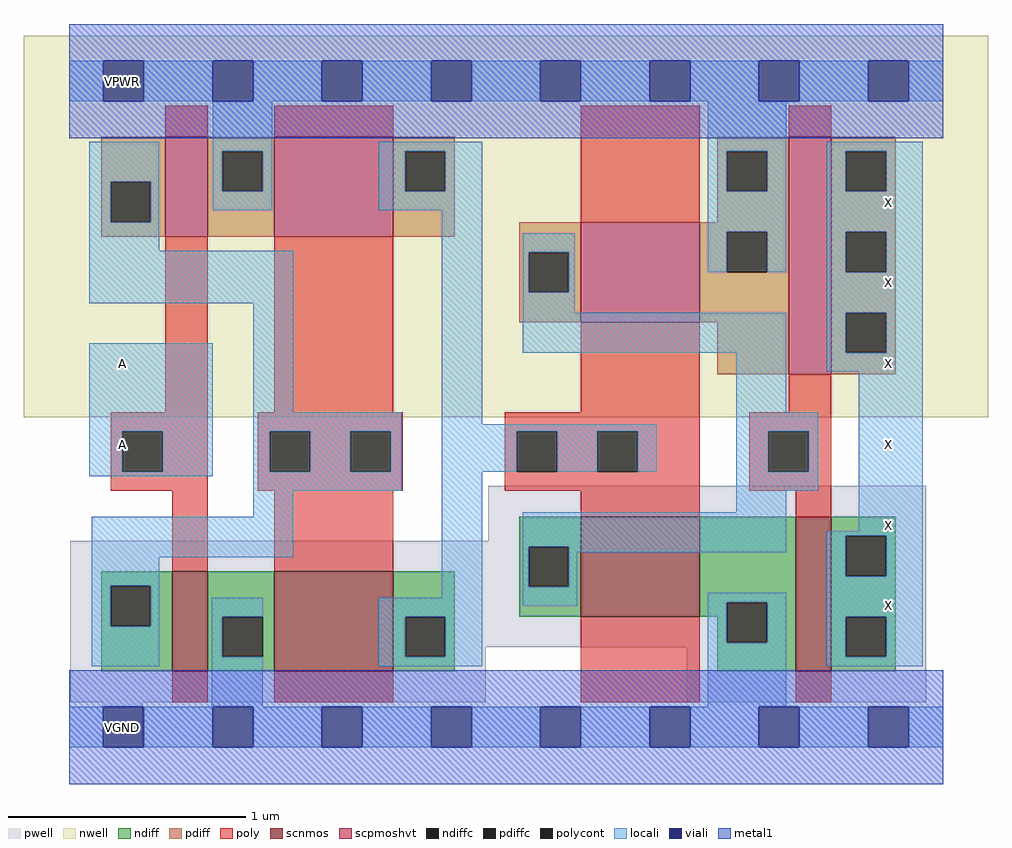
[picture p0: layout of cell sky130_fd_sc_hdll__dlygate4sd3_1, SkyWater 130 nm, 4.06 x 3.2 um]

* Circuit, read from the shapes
.subckt sky130_fd_sc_hdll__dlygate4sd3_1 A VGND VNB VPB VPWR X
XM1 VGND A n1 VNB sky130_fd_pr__nfet_01v8 w=0.42 l=0.15
XM2 n2 n1 VGND VNB sky130_fd_pr__nfet_01v8 w=0.42 l=0.5
XM3 VGND n2 n3 VNB sky130_fd_pr__nfet_01v8 w=0.42 l=0.5
XM4 X n3 VGND VNB sky130_fd_pr__nfet_01v8 w=0.65 l=0.15
XM5 VPWR A n1 VPB sky130_fd_pr__pfet_01v8_hvt w=0.42 l=0.18
XM6 n2 n1 VPWR VPB sky130_fd_pr__pfet_01v8_hvt w=0.42 l=0.5
XM7 VPWR n2 n3 VPB sky130_fd_pr__pfet_01v8_hvt w=0.42 l=0.5
XM8 X n3 VPWR VPB sky130_fd_pr__pfet_01v8_hvt w=1 l=0.18
.ends

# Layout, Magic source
magic
tech sky130A
magscale 1 2
<< nwell >>
rect -38 261 774 582
<< pwell >>
rect 353 157 722 203
rect 1 67 722 157
rect 1 21 351 67
rect 520 21 722 67
rect 28 -17 62 21
<< scnmos >>
rect 87 47 117 131
rect 173 47 273 131
rect 431 93 531 177
rect 612 47 642 177
<< scpmoshvt >>
rect 81 413 117 497
rect 173 413 273 497
rect 431 341 531 425
rect 606 297 642 497
<< ndiff >>
rect 379 152 431 177
rect 27 119 87 131
rect 27 85 35 119
rect 69 85 87 119
rect 27 47 87 85
rect 117 93 173 131
rect 117 59 129 93
rect 163 59 173 93
rect 117 47 173 59
rect 273 93 325 131
rect 379 118 387 152
rect 421 118 431 152
rect 379 93 431 118
rect 531 105 612 177
rect 531 93 554 105
rect 273 59 283 93
rect 317 59 325 93
rect 273 47 325 59
rect 546 71 554 93
rect 588 71 612 105
rect 546 47 612 71
rect 642 161 696 177
rect 642 127 654 161
rect 688 127 696 161
rect 642 93 696 127
rect 642 59 654 93
rect 688 59 696 93
rect 642 47 696 59
<< pdiff >>
rect 27 459 81 497
rect 27 425 35 459
rect 69 425 81 459
rect 27 413 81 425
rect 117 485 173 497
rect 117 451 129 485
rect 163 451 173 485
rect 117 413 173 451
rect 273 485 325 497
rect 273 451 283 485
rect 317 451 325 485
rect 273 413 325 451
rect 546 485 606 497
rect 546 451 554 485
rect 588 451 606 485
rect 546 425 606 451
rect 379 400 431 425
rect 379 366 387 400
rect 421 366 431 400
rect 379 341 431 366
rect 531 417 606 425
rect 531 383 554 417
rect 588 383 606 417
rect 531 341 606 383
rect 546 297 606 341
rect 642 485 696 497
rect 642 451 654 485
rect 688 451 696 485
rect 642 417 696 451
rect 642 383 654 417
rect 688 383 696 417
rect 642 349 696 383
rect 642 315 654 349
rect 688 315 696 349
rect 642 297 696 315
<< ndiffc >>
rect 35 85 69 119
rect 129 59 163 93
rect 387 118 421 152
rect 283 59 317 93
rect 554 71 588 105
rect 654 127 688 161
rect 654 59 688 93
<< pdiffc >>
rect 35 425 69 459
rect 129 451 163 485
rect 283 451 317 485
rect 554 451 588 485
rect 387 366 421 400
rect 554 383 588 417
rect 654 451 688 485
rect 654 383 688 417
rect 654 315 688 349
<< poly >>
rect 81 497 117 523
rect 173 497 273 523
rect 431 425 531 523
rect 606 497 642 523
rect 81 265 117 413
rect 173 265 273 413
rect 431 265 531 341
rect 606 265 642 297
rect 35 249 117 265
rect 35 215 45 249
rect 79 215 117 249
rect 35 199 117 215
rect 159 249 281 265
rect 159 215 169 249
rect 203 215 237 249
rect 271 215 281 249
rect 159 199 281 215
rect 367 249 531 265
rect 367 215 377 249
rect 411 215 445 249
rect 479 215 531 249
rect 367 199 531 215
rect 573 249 642 265
rect 573 215 589 249
rect 623 215 642 249
rect 573 199 642 215
rect 87 131 117 199
rect 173 131 273 199
rect 431 177 531 199
rect 612 177 642 199
rect 87 21 117 47
rect 173 21 273 47
rect 431 21 531 93
rect 612 21 642 47
<< polycont >>
rect 45 215 79 249
rect 169 215 203 249
rect 237 215 271 249
rect 377 215 411 249
rect 445 215 479 249
rect 589 215 623 249
<< locali >>
rect 0 527 29 561
rect 63 527 121 561
rect 155 527 213 561
rect 247 527 305 561
rect 339 527 397 561
rect 431 527 489 561
rect 523 527 581 561
rect 615 527 673 561
rect 707 527 736 561
rect 17 459 76 493
rect 17 425 35 459
rect 69 425 76 459
rect 121 485 171 527
rect 121 451 129 485
rect 163 451 171 485
rect 121 435 171 451
rect 261 485 348 493
rect 261 451 283 485
rect 317 451 348 485
rect 261 435 348 451
rect 17 401 76 425
rect 17 357 189 401
rect 17 249 121 323
rect 17 215 45 249
rect 79 215 121 249
rect 17 211 121 215
rect 155 265 189 357
rect 155 249 280 265
rect 155 215 169 249
rect 203 215 237 249
rect 271 215 280 249
rect 155 199 280 215
rect 314 255 348 435
rect 538 485 604 527
rect 538 451 554 485
rect 588 451 604 485
rect 538 417 604 451
rect 382 400 426 416
rect 382 366 387 400
rect 421 366 426 400
rect 538 383 554 417
rect 588 383 604 417
rect 638 485 719 493
rect 638 451 654 485
rect 688 451 719 485
rect 638 417 719 451
rect 638 383 654 417
rect 688 383 719 417
rect 382 349 426 366
rect 638 349 719 383
rect 382 315 604 349
rect 562 265 604 315
rect 638 315 654 349
rect 688 315 719 349
rect 638 299 719 315
rect 314 249 495 255
rect 314 215 377 249
rect 411 215 445 249
rect 479 215 495 249
rect 562 249 631 265
rect 562 215 589 249
rect 623 215 631 249
rect 155 177 189 199
rect 19 143 189 177
rect 19 119 76 143
rect 19 85 35 119
rect 69 85 76 119
rect 314 109 348 215
rect 562 199 631 215
rect 562 181 604 199
rect 19 51 76 85
rect 120 93 163 109
rect 120 59 129 93
rect 120 17 163 59
rect 261 93 348 109
rect 382 152 604 181
rect 665 165 719 299
rect 382 118 387 152
rect 421 147 604 152
rect 638 161 719 165
rect 421 118 428 147
rect 382 102 428 118
rect 638 127 654 161
rect 688 127 719 161
rect 538 105 604 113
rect 261 59 283 93
rect 317 59 348 93
rect 261 51 348 59
rect 538 71 554 105
rect 588 71 604 105
rect 538 17 604 71
rect 638 93 719 127
rect 638 59 654 93
rect 688 59 719 93
rect 638 51 719 59
rect 0 -17 29 17
rect 63 -17 121 17
rect 155 -17 213 17
rect 247 -17 305 17
rect 339 -17 397 17
rect 431 -17 489 17
rect 523 -17 581 17
rect 615 -17 673 17
rect 707 -17 736 17
<< viali >>
rect 29 527 63 561
rect 121 527 155 561
rect 213 527 247 561
rect 305 527 339 561
rect 397 527 431 561
rect 489 527 523 561
rect 581 527 615 561
rect 673 527 707 561
rect 29 -17 63 17
rect 121 -17 155 17
rect 213 -17 247 17
rect 305 -17 339 17
rect 397 -17 431 17
rect 489 -17 523 17
rect 581 -17 615 17
rect 673 -17 707 17
<< metal1 >>
rect 0 561 736 592
rect 0 527 29 561
rect 63 527 121 561
rect 155 527 213 561
rect 247 527 305 561
rect 339 527 397 561
rect 431 527 489 561
rect 523 527 581 561
rect 615 527 673 561
rect 707 527 736 561
rect 0 496 736 527
rect 0 17 736 48
rect 0 -17 29 17
rect 63 -17 121 17
rect 155 -17 213 17
rect 247 -17 305 17
rect 339 -17 397 17
rect 431 -17 489 17
rect 523 -17 581 17
rect 615 -17 673 17
rect 707 -17 736 17
rect 0 -48 736 -17
<< labels >>
flabel locali s 28 289 62 323 0 FreeSans 200 0 0 0 A
port 1 nsew signal input
flabel locali s 673 425 707 459 0 FreeSans 200 0 0 0 X
port 6 nsew signal output
flabel locali s 673 357 707 391 0 FreeSans 200 0 0 0 X
port 6 nsew signal output
flabel locali s 673 85 707 119 0 FreeSans 200 0 0 0 X
port 6 nsew signal output
flabel locali s 28 221 62 255 0 FreeSans 200 0 0 0 A
port 1 nsew signal input
flabel locali s 673 153 707 187 0 FreeSans 200 0 0 0 X
port 6 nsew signal output
flabel locali s 673 221 707 255 0 FreeSans 200 0 0 0 X
port 6 nsew signal output
flabel locali s 673 289 707 323 0 FreeSans 200 0 0 0 X
port 6 nsew signal output
flabel metal1 s 28 527 62 561 0 FreeSans 200 0 0 0 VPWR
port 5 nsew power bidirectional
flabel metal1 s 28 -17 62 17 0 FreeSans 200 0 0 0 VGND
port 2 nsew ground bidirectional
flabel nwell s 28 527 62 561 0 FreeSans 200 0 0 0 VPB
port 4 nsew power bidirectional
flabel pwell s 28 -17 62 17 0 FreeSans 200 0 0 0 VNB
port 3 nsew ground bidirectional
rlabel comment s 0 0 0 0 4 dlygate4sd3_1
<< properties >>
string LEFsite unithd
string LEFclass CORE
string FIXED_BBOX 0 0 736 544
string GDS_FILE $PDKPATH/libs.ref/sky130_fd_sc_hdll/gds/sky130_fd_sc_hdll.gds
string LEFsymmetry X Y R90
string GDS_END 222912
string GDS_START 216716
string LEFproperties maskLayoutSubType "abstract" prCellType "standard" originalViewName "layout"
<< end >>
